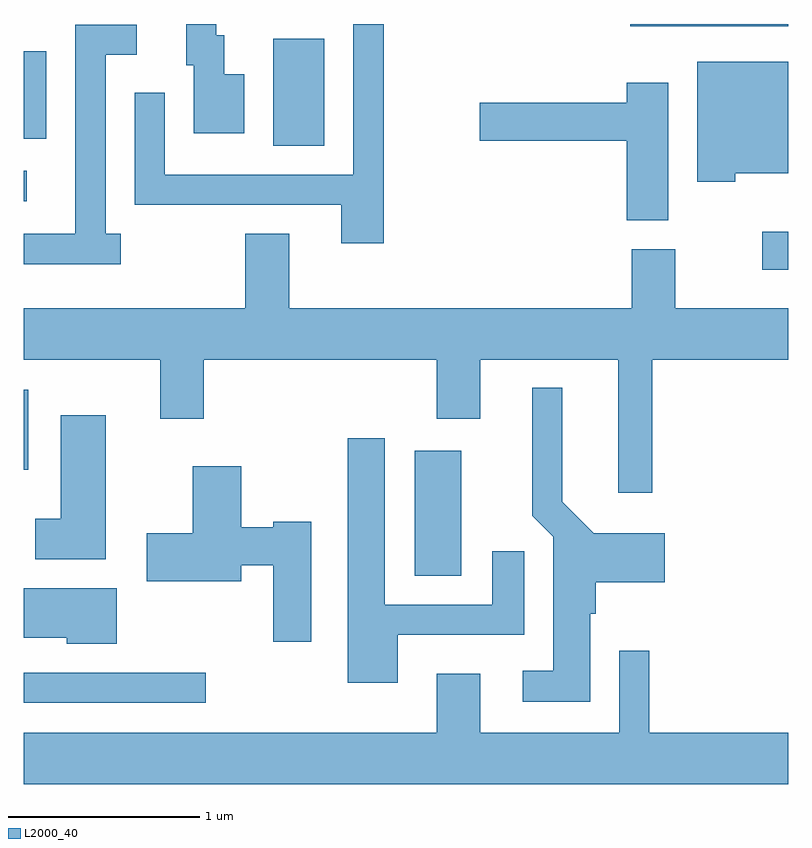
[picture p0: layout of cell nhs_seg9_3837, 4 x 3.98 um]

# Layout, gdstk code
import gdstk
lib = gdstk.Library(unit=1e-6, precision=1e-09)
def R(c, l, rs):  # rectangles x0, y0, x1, y1
    for r in rs: c.add(gdstk.rectangle(r[:2], r[2:], *l))
def P(c, l, *ps):  # polygons
    for p in ps: c.add(gdstk.Polygon(p, *l))
L2000_40 = (2000, 40)

nhs_seg9_3837 = lib.new_cell('nhs_seg9_3837')
R(nhs_seg9_3837, L2000_40, [(297.611,2018.881,298.563,2019.039), (299.656,2019.546,299.899,2020.199), (297.611,2020.101,297.634,2020.519), (301.476,2021.146,301.611,2021.344), (297.611,2021.506,297.628,2021.664), (298.916,2021.796,299.184,2022.354), (297.611,2021.831,297.729,2022.289), (300.783,2022.421,301.611,2022.432)])
P(nhs_seg9_3837, L2000_40, [(299.494,2022.432),(299.336,2022.432),(299.336,2021.644),(298.349,2021.644),(298.349,2022.073),(298.191,2022.073),(298.191,2021.486),(299.271,2021.486),(299.271,2021.286),(299.494,2021.286)],
  [(298.764,2022.169),(298.659,2022.169),(298.659,2022.374),(298.619,2022.374),(298.619,2022.432),(298.461,2022.432),(298.461,2022.216),(298.501,2022.216),(298.501,2021.861),(298.764,2021.861)],
  [(298.118,2021.334),(298.039,2021.334),(298.039,2022.271),(298.203,2022.271),(298.203,2022.429),(297.881,2022.429),(297.881,2021.334),(297.611,2021.334),(297.611,2021.176),(298.118,2021.176)],
  [(301.334,2021.651),(301.611,2021.651),(301.611,2022.234),(301.136,2022.234),(301.136,2021.606),(301.334,2021.606)],
  [(300.984,2022.124),(300.766,2022.124),(300.766,2022.019),(299.996,2022.019),(299.996,2021.821),(300.766,2021.821),(300.766,2021.406),(300.984,2021.406)],
  [(300.899,2020.676),(301.611,2020.676),(301.611,2020.944),(301.019,2020.944),(301.019,2021.254),(300.791,2021.254),(300.791,2020.944),(298.999,2020.944),(298.999,2021.334),(298.771,2021.334),(298.771,2020.944),(297.611,2020.944),(297.611,2020.676),(298.326,2020.676),(298.326,2020.366),(298.554,2020.366),(298.554,2020.676),(299.771,2020.676),(299.771,2020.366),(299.999,2020.366),(299.999,2020.676),(300.721,2020.676),(300.721,2019.981),(300.899,2019.981)],
  [(300.574,2019.346),(300.604,2019.346),(300.604,2019.511),(300.964,2019.511),(300.964,2019.769),(300.592,2019.769),(300.429,2019.932),(300.429,2020.528),(300.271,2020.528),(300.271,2019.859),(300.381,2019.749),(300.381,2019.049),(300.223,2019.049),(300.223,2018.886),(300.574,2018.886)],
  [(298.039,2020.384),(297.806,2020.384),(297.806,2019.844),(297.671,2019.844),(297.671,2019.631),(298.039,2019.631)],
  [(299.569,2019.236),(300.229,2019.236),(300.229,2019.673),(300.061,2019.673),(300.061,2019.394),(299.499,2019.394),(299.499,2020.264),(299.306,2020.264),(299.306,2018.986),(299.569,2018.986)],
  [(299.114,2019.829),(298.916,2019.829),(298.916,2019.799),(298.749,2019.799),(298.749,2020.119),(298.496,2020.119),(298.496,2019.769),(298.256,2019.769),(298.256,2019.516),(298.749,2019.516),(298.749,2019.601),(298.916,2019.601),(298.916,2019.201),(299.114,2019.201)],
  [(298.099,2019.479),(297.611,2019.479),(297.611,2019.221),(297.836,2019.221),(297.836,2019.191),(298.099,2019.191)],
  [(301.611,2018.724),(300.884,2018.724),(300.884,2019.153),(300.726,2019.153),(300.726,2018.724),(299.999,2018.724),(299.999,2019.034),(299.771,2019.034),(299.771,2018.724),(297.611,2018.724),(297.611,2018.456),(301.611,2018.456)])

lib.write_gds('nhs_seg9_3837.gds')
